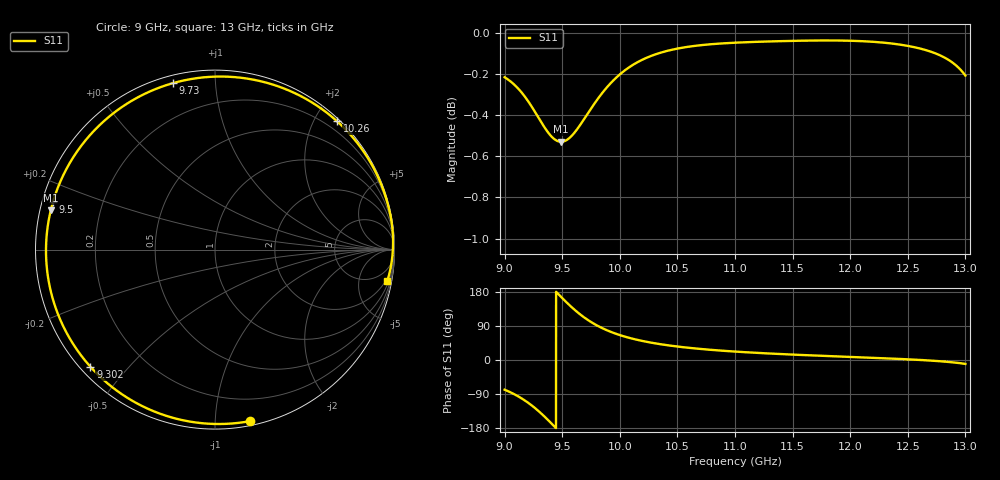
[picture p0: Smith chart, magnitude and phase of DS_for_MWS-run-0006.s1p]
! TOUCHSTONE file generated by CST DESIGN STUDIO
! Date and time: Tue Feb  4 13:51:24 2025
! Project name: C:\Work\MatlabApps\UnitCellOptimizationMatlab\CST\unitcell.cst
! Tree item: Tasks\Sweep1\SPara1\S-Parameters
! Header version: 2024
! Port assignment regex: !\s*Touchstone port\s*([0-9]+)\s*=\s*(CST MWS port|CST DES external port|CST DES block port)\s*(.+)\s* \(\"(.*)\"\)(\s*mode\s*([0-9]+))?.*
! Touchstone port assignment:
! Touchstone port 1 = CST DES external port 1 ("")
# GHz S MA R 50
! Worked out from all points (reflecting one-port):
!   4001 points, 9 GHz to 13 GHz, reference 50 ohm
!   lowest |S11| = -0.5 dB at 9.49 GHz (marker M1), VSWR 32.81, Z = 1.55 + j5.89 ohm
!   phase of S11 starts at -78 deg and turns -292 deg over the sweep
!   S11 on the Smith chart (normalised r, x): 9 GHz: 0.03, -1.23; 9.302 GHz: 0.03, -0.40; 9.5 GHz: 0.03, +0.15; 9.73 GHz: 0.04, +0.78; 10.26 GHz: 0.04, +2.33; 13 GHz: 1, -11
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9  0.9754 -78.4
9.075  0.9719 -88.9
9.171  0.9653 -105.9
9.239  0.9592 -120.8
9.302  0.9528 -136.8
9.355  0.9477 -151.8
9.402  0.9439 -166.0
9.446  0.9416 -179.7
9.49  0.9408 166.6
9.5  0.9409 163.5
9.559  0.9426 145.9
9.614  0.9462 130.8
9.67  0.951 117.0
9.73  0.9566 104.2
9.791  0.9621 93.0
9.862  0.968 82.0
9.929  0.9728 73.4
10  0.977 65.8
10.121  0.9825 55.4
10.26  0.9868 46.4
10.5  0.9912 35.5
10.722  0.9932 28.6
11  0.9945 22.2
11.5  0.9955 14.3
12  0.9956 8.1
12.5  0.9927 1.8
12.79  0.9872 -3.5
13  0.9763 -10.3
